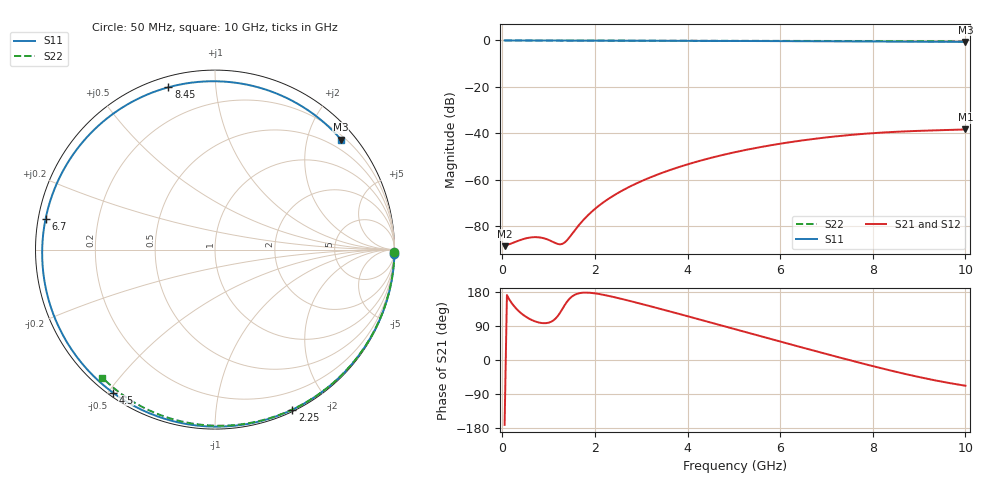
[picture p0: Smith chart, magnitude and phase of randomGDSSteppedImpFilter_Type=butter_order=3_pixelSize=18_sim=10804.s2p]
! freq	dB(S11)	phase(S11)	dB(S12)	phase(S12)
!  dB(S21)	phase(S21)	dB(S22)	phase(S22)
!S-par simulation data
#  GHz  S  DB  R 50
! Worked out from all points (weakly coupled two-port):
!   200 points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, 50 MHz to 10 GHz, reference 50 ohm
!   highest |S21| = -38.39 dB at 10 GHz (marker M1); lowest = -88.7 dB at 50 MHz (marker M2)
!   lowest |S11| = -0.6 dB at 10 GHz (marker M3), VSWR 28.40, Z = 14.1 + j132 ohm
!   |S11| at or under -10 dB: nowhere
!   |S22| runs from -0.4 to 0.0 dB; largest |S21 - S12| = 0
!   S11 on the Smith chart (normalised r, x): 50 MHz: 0, -78; 2.25 GHz: 0.02, -1.59; 4.5 GHz: 0.01, -0.51; 6.7 GHz: 0.02, +0.09; 8.45 GHz: 0.05, +0.75; 10 GHz: 0.28, +2.64
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0.05  -0.00 -1.5  -88.74 -171.1  -88.74 -171.1  -0.00 -0.8
0.8  -0.02 -23.2  -84.95 98.7  -84.95 98.7  -0.01 -12.1
1.6  -0.06 -46.0  -81.00 174.0  -81.00 174.0  -0.03 -24.0
1.65  -0.06 -47.4  -79.76 175.9  -79.76 175.9  -0.03 -24.7
1.75  -0.06 -50.2  -77.45 177.7  -77.45 177.7  -0.03 -26.2
2.25  -0.08 -64.2  -68.90 170.4  -68.90 170.4  -0.04 -33.5
2.75  -0.10 -78.0  -63.08 156.0  -63.08 156.0  -0.05 -40.7
3.4  -0.13 -95.7  -57.48 135.3  -57.48 135.3  -0.07 -49.8
3.95  -0.15 -110.6  -53.76 117.3  -53.76 117.3  -0.08 -57.4
4.5  -0.18 -125.6  -50.67 98.9  -50.67 98.9  -0.09 -64.9
5.05  -0.22 -140.8  -48.09 80.5  -48.09 80.5  -0.11 -72.1
5.9  -0.29 -165.3  -44.87 52.0  -44.87 52.0  -0.14 -83.0
6.7  -0.36 169.8  -42.54 25.6  -42.54 25.6  -0.18 -93.0
7.1  -0.40 156.4  -41.59 12.5  -41.59 12.5  -0.20 -97.8
7.5  -0.44 142.4  -40.79 -0.4  -40.79 -0.4  -0.23 -102.6
7.95  -0.49 125.7  -40.06 -14.6  -40.06 -14.6  -0.26 -107.9
8.35  -0.52 110.0  -39.56 -26.8  -39.56 -26.8  -0.29 -112.6
8.45  -0.53 106.0  -39.45 -29.7  -39.45 -29.7  -0.30 -113.7
8.85  -0.56 89.6  -39.10 -41.0  -39.10 -41.0  -0.33 -118.3
9.2  -0.58 74.9  -38.86 -50.1  -38.86 -50.1  -0.36 -122.3
9.6  -0.60 58.0  -38.63 -59.6  -38.63 -59.6  -0.40 -126.8
10  -0.61 41.2  -38.39 -67.9  -38.39 -67.9  -0.44 -131.3
